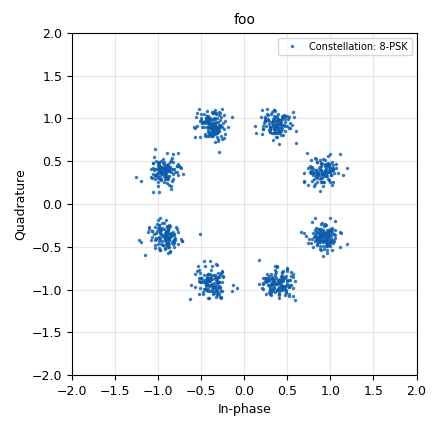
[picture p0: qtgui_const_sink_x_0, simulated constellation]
options:
  parameters:
    author: 5Minutos
    category: Custom
    generate_options: qt_gui
    id: ber_simulation
    output_language: python
    title: BER Simulation
  states: {}

blocks:
- name: EbN0
  id: variable_qtgui_range
  parameters:
    label: Eb / N0 (dB)
    start: '-10'
    step: '1'
    stop: '200'
    value: '10'
    widget: counter
  states: {}
- name: const
  id: variable
  parameters:
    value: (digital.constellation_bpsk(), digital.constellation_qpsk(), digital.constellation_8psk())
  states: {}
- name: const_type
  id: variable
  parameters:
    value: '2'
  states: {}
- name: samp_rate
  id: variable
  parameters:
    value: 100e3
  states: {}
- name: variable_qtgui_label_0
  id: variable_qtgui_label
  parameters:
    label: Constellation Type
    type: string
    value: '{0: ''BPSK'', 1: ''QPSK'', 2: ''8-PSK''}[const_type] + " - Change const_type for different constellation types!"'
  states: {}
- name: analog_noise_source_x
  id: analog_noise_source_x
  parameters:
    amp: 1.0 / math.sqrt(2.0 * const[const_type].bits_per_symbol() * 10**(EbN0/10))
    noise_type: analog.GR_GAUSSIAN
    seed: '42'
    type: complex
  states: {}
- name: analog_random_source_x
  id: analog_random_source_x
  parameters:
    max: const[const_type].arity()
    min: '0'
    num_samps: '10000000'
    repeat: 'True'
    type: byte
  states: {}
- name: blocks_add_xx
  id: blocks_add_xx
  parameters:
    type: complex
  states: {}
- name: blocks_delay_0
  id: blocks_delay
  parameters:
    delay: '1'
    type: byte
  states: {}
- name: blocks_throttle2_0
  id: blocks_throttle2
  parameters:
    samples_per_second: samp_rate
    type: byte
  states: {}
- name: digital_chunks_to_symbols_xx
  id: digital_chunks_to_symbols_xx
  parameters:
    dimension: '1'
    in_type: byte
    out_type: complex
    symbol_table: const[const_type].points()
  states: {}
- name: digital_constellation_decoder_cb_0
  id: digital_constellation_decoder_cb
  parameters:
    constellation: const[const_type].base()
  states: {}
- name: fec_ber_bf_0
  id: fec_ber_bf
  parameters:
    berlimit: '-5.0'
    berminerrors: '1000'
    test_mode: 'False'
  states: {}
- name: import_0
  id: import
  parameters:
    imports: import math
  states: {}
- name: qtgui_const_sink_x_0
  id: qtgui_const_sink_x
  parameters:
    alpha1: '0.6'
    gui_hint: 2,0,1,1
    label1: '"Constellation: "+str(const[const_type].arity()) + "-PSK"'
    name: '"foo"'
    size: '1024'
    type: complex
  states: {}
- name: qtgui_number_sink_0
  id: qtgui_number_sink
  parameters:
    autoscale: 'True'
    factor1: 1e6
    graph_type: qtgui.NUM_GRAPH_NONE
    gui_hint: 1,0,1,1
    label1: BER
    min: '0'
    type: float
    unit1: x10^-6
  states: {}

connections:
- [analog_noise_source_x, '0', blocks_add_xx, '1']
- [analog_random_source_x, '0', blocks_throttle2_0, '0']
- [analog_random_source_x, '0', digital_chunks_to_symbols_xx, '0']
- [blocks_add_xx, '0', digital_constellation_decoder_cb_0, '0']
- [blocks_add_xx, '0', qtgui_const_sink_x_0, '0']
- [blocks_delay_0, '0', fec_ber_bf_0, '0']
- [blocks_throttle2_0, '0', blocks_delay_0, '0']
- [digital_chunks_to_symbols_xx, '0', blocks_add_xx, '0']
- [digital_constellation_decoder_cb_0, '0', fec_ber_bf_0, '1']
- [fec_ber_bf_0, '0', qtgui_number_sink_0, '0']

metadata:
  file_format: 1
  grc_version: 3.10.10.0
